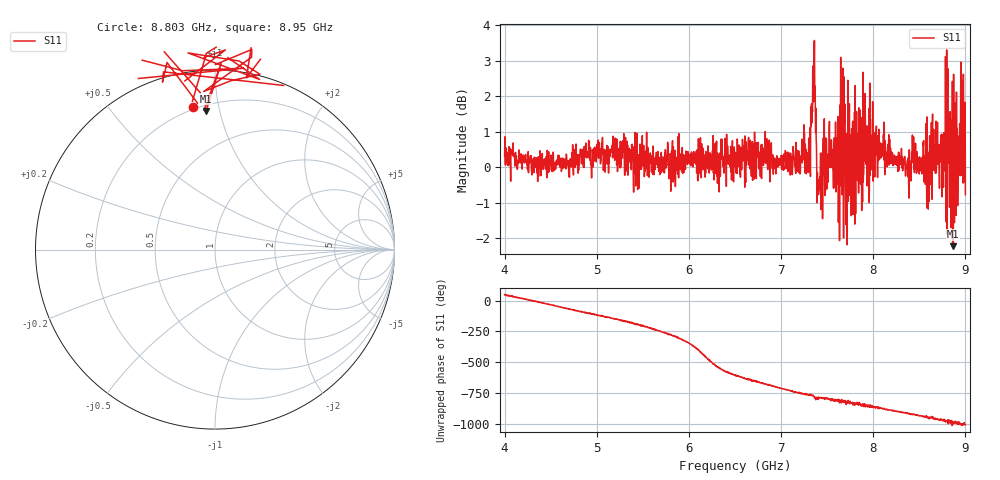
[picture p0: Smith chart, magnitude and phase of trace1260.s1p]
! Created with skrf 1.8.0 (http://scikit-rf.org).
# Hz S RI R 50.0
!freq ReS11 ImS11
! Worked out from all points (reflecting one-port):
!   1601 points, 4 GHz to 9 GHz, reference 50 ohm
!   lowest |S11| = -2.2 dB at 8.869 GHz (marker M1), VSWR 7.87, Z = 11.8 + j45.5 ohm
!   phase of S11 starts at 49 deg and turns -1055 deg over the sweep
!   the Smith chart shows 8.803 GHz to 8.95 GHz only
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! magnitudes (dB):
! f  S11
! 4 GHz  0.3
! 4.625 GHz  0.0
! 5.25 GHz  0.0
! 5.875 GHz  0.1
! 6.5 GHz  0.0
! 7.125 GHz  0.0
! 7.294 GHz  -0.1
! 7.347 GHz  2.6
! 7.369 GHz  2.3
! 7.409 GHz  -0.7
! 7.538 GHz  0.6
! 7.609 GHz  0.8
! 7.666 GHz  1.7
! 7.725 GHz  2.4
! 7.75 GHz  -0.8
! 7.775 GHz  1.2
! 7.828 GHz  0.7
! 7.872 GHz  0.4
! 7.928 GHz  0.7
! 8.375 GHz  0.0
! 8.441 GHz  0.0
! 8.612 GHz  0.9
! 8.666 GHz  0.6
! 8.766 GHz  0.8
! 8.8 GHz  1.0
! 8.869 GHz  -2.2
! 8.959 GHz  2.4
! 9 GHz  -0.8
